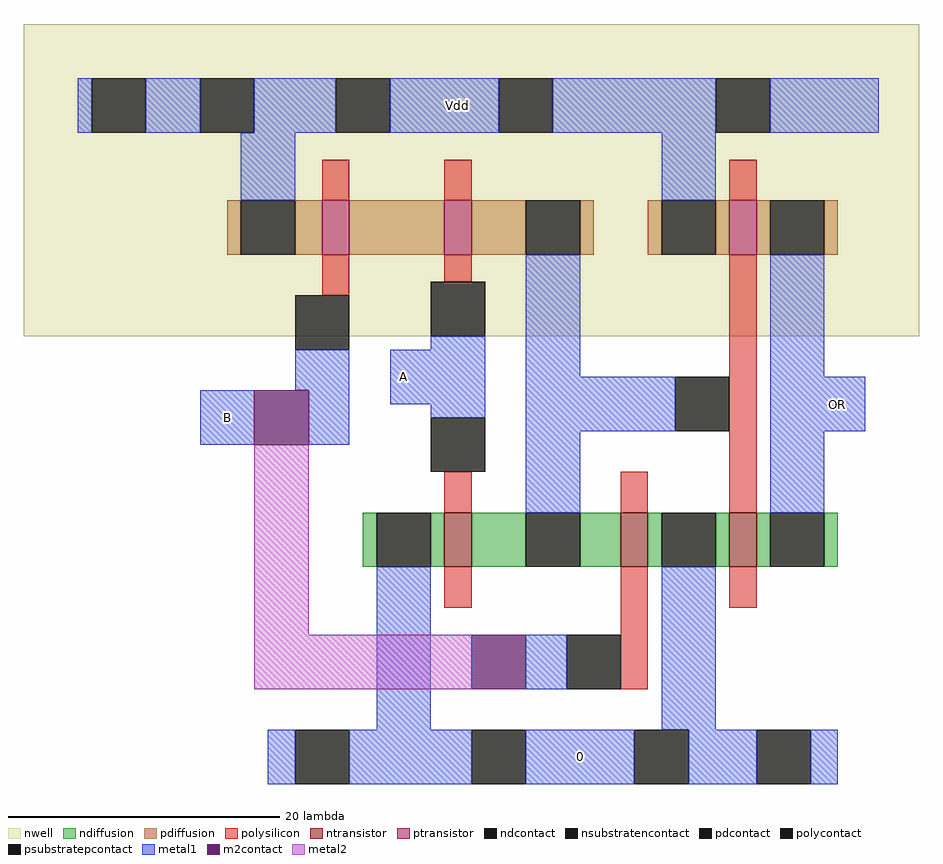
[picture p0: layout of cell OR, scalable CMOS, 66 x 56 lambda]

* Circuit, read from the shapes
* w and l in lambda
.subckt OR 0 A B Vdd
M1 n1 A 0 0 nfet w=4 l=2
M2 0 B n1 0 nfet w=4 l=2
M3 n2 n1 0 0 nfet w=4 l=2
M4 n3 B Vdd Vdd pfet w=4 l=2
M5 n1 A n3 Vdd pfet w=4 l=2
M6 n2 n1 Vdd Vdd pfet w=4 l=2
.ends

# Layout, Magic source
magic
tech scmos
<< nwell >>
rect -29 9 37 32
<< ntransistor >>
rect 2 -8 4 -4
rect 15 -8 17 -4
rect 23 -8 25 -4
<< ptransistor >>
rect -7 15 -5 19
rect 2 15 4 19
rect 23 15 25 19
<< ndiffusion >>
rect -4 -8 -3 -4
rect 1 -8 2 -4
rect 4 -8 8 -4
rect 12 -8 15 -4
rect 17 -8 18 -4
rect 22 -8 23 -4
rect 25 -8 26 -4
rect 30 -8 31 -4
<< pdiffusion >>
rect -14 15 -13 19
rect -9 15 -7 19
rect -5 15 2 19
rect 4 15 8 19
rect 12 15 13 19
rect 17 15 18 19
rect 22 15 23 19
rect 25 15 26 19
rect 30 15 31 19
<< ndcontact >>
rect -3 -8 1 -4
rect 8 -8 12 -4
rect 18 -8 22 -4
rect 26 -8 30 -4
<< pdcontact >>
rect -13 15 -9 19
rect 8 15 12 19
rect 18 15 22 19
rect 26 15 30 19
<< psubstratepcontact >>
rect -9 -24 -5 -20
rect 4 -24 8 -20
rect 16 -24 20 -20
rect 25 -24 29 -20
<< nsubstratencontact >>
rect -24 24 -20 28
rect -16 24 -12 28
rect -6 24 -2 28
rect 6 24 10 28
rect 22 24 26 28
<< polysilicon >>
rect -7 19 -5 22
rect 2 19 4 22
rect 23 19 25 22
rect -7 12 -5 15
rect 2 13 4 15
rect 2 -4 4 -1
rect 15 -4 17 -1
rect 23 -4 25 15
rect 2 -11 4 -8
rect 15 -17 17 -8
rect 23 -11 25 -8
<< polycontact >>
rect -9 8 -5 12
rect 1 9 5 13
rect 1 -1 5 3
rect 19 2 23 6
rect 11 -17 15 -13
<< metal1 >>
rect -25 24 -24 28
rect -20 24 -16 28
rect -12 24 -6 28
rect -2 24 6 28
rect 10 24 22 28
rect 26 24 34 28
rect -13 19 -9 24
rect 18 19 22 24
rect 1 8 5 9
rect -9 5 -5 8
rect -16 1 -12 5
rect -8 1 -5 5
rect -2 4 5 8
rect 1 3 5 4
rect 8 6 12 15
rect 26 6 30 15
rect 8 2 19 6
rect 26 2 33 6
rect 8 -4 12 2
rect 26 -4 30 2
rect -3 -20 1 -8
rect 8 -17 11 -13
rect 18 -20 22 -8
rect -11 -24 -9 -20
rect -5 -24 4 -20
rect 8 -24 16 -20
rect 20 -24 25 -20
rect 29 -24 31 -20
<< m2contact >>
rect -12 1 -8 5
rect 4 -17 8 -13
<< metal2 >>
rect -12 -13 -8 1
rect -12 -17 4 -13
<< labels >>
rlabel metal1 3 26 3 26 1 Vdd
rlabel metal1 -1 6 -1 6 1 A
rlabel metal1 31 4 31 4 1 OR
rlabel metal1 -14 3 -14 3 1 B
rlabel metal1 12 -22 12 -22 1 0
<< end >>
